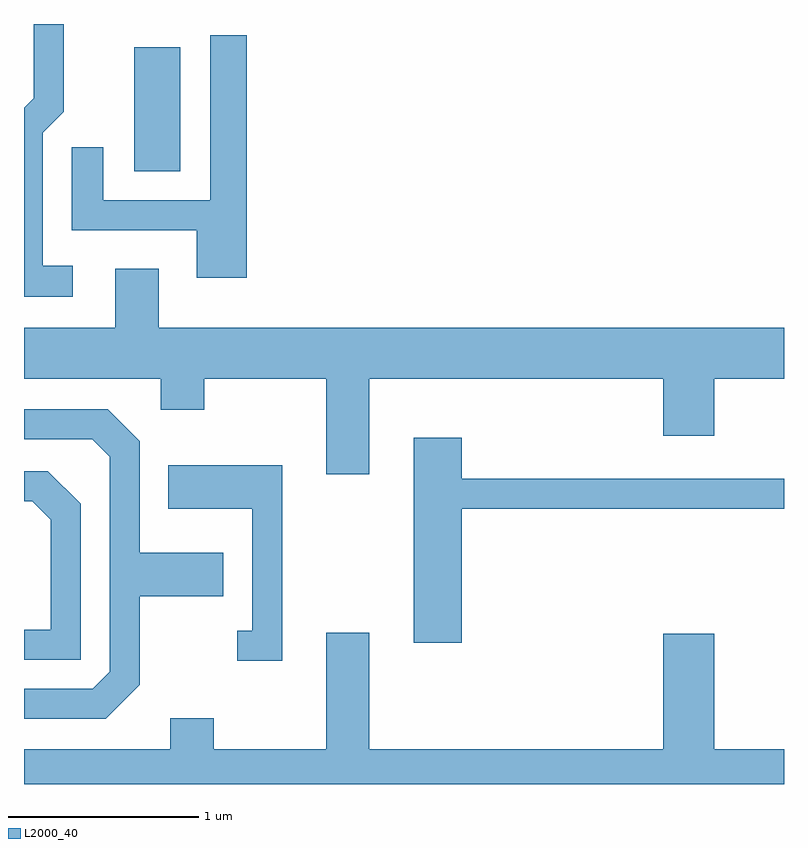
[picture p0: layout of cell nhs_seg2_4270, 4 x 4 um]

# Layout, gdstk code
import gdstk
lib = gdstk.Library(unit=1e-6, precision=1e-09)
def R(c, l, rs):  # rectangles x0, y0, x1, y1
    for r in rs: c.add(gdstk.rectangle(r[:2], r[2:], *l))
def P(c, l, *ps):  # polygons
    for p in ps: c.add(gdstk.Polygon(p, *l))
L2000_40 = (2000, 40)

nhs_seg2_4270 = lib.new_cell('nhs_seg2_4270')
R(nhs_seg2_4270, L2000_40, [(312.191,985.026,312.434,985.679)])
P(nhs_seg2_4270, L2000_40, [(311.868,984.529),(311.709,984.529),(311.709,985.229),(311.819,985.339),(311.819,985.802),(311.661,985.802),(311.661,985.412),(311.611,985.362),(311.611,984.366),(311.868,984.366)],
  [(312.784,985.744),(312.591,985.744),(312.591,984.874),(312.029,984.874),(312.029,985.153),(311.861,985.153),(311.861,984.716),(312.521,984.716),(312.521,984.466),(312.784,984.466)],
  [(313.429,983.936),(314.976,983.936),(314.976,983.636),(315.244,983.636),(315.244,983.936),(315.611,983.936),(315.611,984.204),(312.319,984.204),(312.319,984.514),(312.091,984.514),(312.091,984.204),(311.611,984.204),(311.611,983.936),(312.331,983.936),(312.331,983.771),(312.559,983.771),(312.559,983.936),(313.201,983.936),(313.201,983.431),(313.429,983.431)],
  [(312.219,982.324),(312.219,982.791),(312.659,982.791),(312.659,983.019),(312.219,983.019),(312.219,983.607),(312.052,983.774),(311.611,983.774),(311.611,983.616),(311.969,983.616),(312.061,983.524),(312.061,982.392),(311.974,982.304),(311.611,982.304),(311.611,982.146),(312.042,982.146)],
  [(313.914,983.251),(315.611,983.251),(315.611,983.409),(313.914,983.409),(313.914,983.624),(313.661,983.624),(313.661,982.546),(313.914,982.546)],
  [(312.969,983.479),(312.371,983.479),(312.371,983.251),(312.811,983.251),(312.811,982.609),(312.733,982.609),(312.733,982.451),(312.969,982.451)],
  [(311.909,983.277),(311.737,983.449),(311.611,983.449),(311.611,983.291),(311.654,983.291),(311.751,983.194),(311.751,982.614),(311.611,982.614),(311.611,982.456),(311.909,982.456)],
  [(315.611,981.984),(315.244,981.984),(315.244,982.594),(314.976,982.594),(314.976,981.984),(313.429,981.984),(313.429,982.599),(313.201,982.599),(313.201,981.984),(312.609,981.984),(312.609,982.149),(312.381,982.149),(312.381,981.984),(311.611,981.984),(311.611,981.802),(315.611,981.802)])

lib.write_gds('nhs_seg2_4270.gds')
